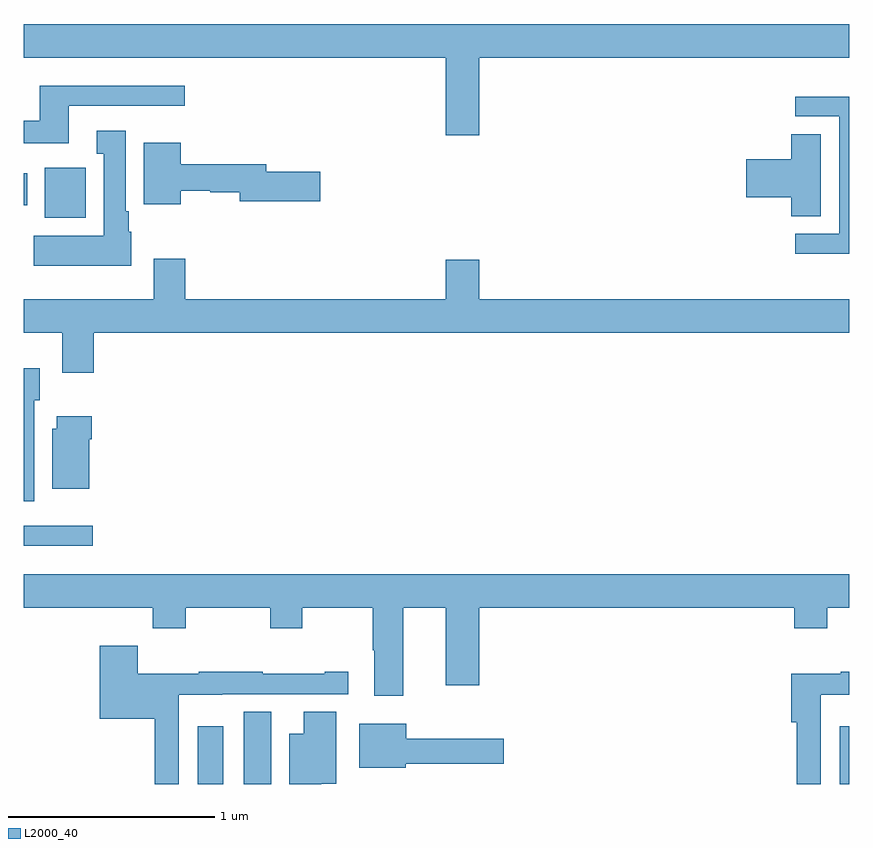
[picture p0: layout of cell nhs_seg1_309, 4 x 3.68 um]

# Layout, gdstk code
import gdstk
lib = gdstk.Library(unit=1e-6, precision=1e-09)
def R(c, l, rs):  # rectangles x0, y0, x1, y1
    for r in rs: c.add(gdstk.rectangle(r[:2], r[2:], *l))
def P(c, l, *ps):  # polygons
    for p in ps: c.add(gdstk.Polygon(p, *l))
L2000_40 = (2000, 40)

nhs_seg1_309 = lib.new_cell('nhs_seg1_309')
R(nhs_seg1_309, L2000_40, [(127.844,564.199,127.966,564.478), (128.066,564.199,128.2,564.548), (130.952,564.199,131,564.478), (127,565.352,127.336,565.449), (127.103,566.942,127.3,567.184), (127,567.001,127.018,567.157)])
P(nhs_seg1_309, L2000_40, [(129.208,567.716),(131,567.716),(131,567.88),(127,567.88),(127,567.716),(129.044,567.716),(129.044,567.342),(129.208,567.342)],
  [(127.219,567.483),(127.78,567.483),(127.78,567.58),(127.079,567.58),(127.079,567.412),(127,567.412),(127,567.302),(127.219,567.302)],
  [(131,567.528),(130.737,567.528),(130.737,567.432),(130.95,567.432),(130.95,566.865),(130.737,566.865),(130.737,566.767),(131,566.767)],
  [(127.522,566.874),(127.51,566.874),(127.51,566.974),(127.495,566.974),(127.495,567.364),(127.355,567.364),(127.355,567.251),(127.388,567.251),(127.388,566.854),(127.049,566.854),(127.049,566.708),(127.522,566.708)],
  [(130.861,567.347),(130.718,567.347),(130.718,567.224),(130.5,567.224),(130.5,567.041),(130.718,567.041),(130.718,566.95),(130.861,566.95)],
  [(127.762,567.072),(127.905,567.072),(127.905,567.064),(128.048,567.064),(128.048,567.022),(128.437,567.022),(128.437,567.164),(128.176,567.164),(128.176,567.2),(127.762,567.2),(127.762,567.304),(127.583,567.304),(127.583,567.008),(127.762,567.008)],
  [(127.34,566.384),(131,566.384),(131,566.548),(129.208,566.548),(129.208,566.737),(129.044,566.737),(129.044,566.548),(127.784,566.548),(127.784,566.743),(127.631,566.743),(127.631,566.548),(127,566.548),(127,566.384),(127.187,566.384),(127.187,566.19),(127.34,566.19)],
  [(127.051,566.058),(127.078,566.058),(127.078,566.212),(127,566.212),(127,565.569),(127.051,565.569)],
  [(127.318,565.868),(127.331,565.868),(127.331,565.981),(127.16,565.981),(127.16,565.92),(127.139,565.92),(127.139,565.628),(127.318,565.628)],
  [(128.839,565.052),(129.044,565.052),(129.044,564.678),(129.208,564.678),(129.208,565.052),(130.733,565.052),(130.733,564.953),(130.893,564.953),(130.893,565.052),(131,565.052),(131,565.216),(127,565.216),(127,565.052),(127.625,565.052),(127.625,564.953),(127.785,564.953),(127.785,565.052),(128.194,565.052),(128.194,564.953),(128.349,564.953),(128.349,565.052),(128.692,565.052),(128.692,564.848),(128.699,564.848),(128.699,564.627),(128.839,564.627)],
  [(127.752,564.632),(127.962,564.632),(127.962,564.633),(128.572,564.633),(128.572,564.742),(128.459,564.742),(128.459,564.732),(128.159,564.732),(128.159,564.742),(127.849,564.742),(127.849,564.732),(127.553,564.732),(127.553,564.868),(127.37,564.868),(127.37,564.515),(127.636,564.515),(127.636,564.199),(127.752,564.199)],
  [(130.86,564.632),(131,564.632),(131,564.742),(130.957,564.742),(130.957,564.732),(130.718,564.732),(130.718,564.497),(130.744,564.497),(130.744,564.199),(130.86,564.199)],
  [(128.443,564.2),(128.515,564.2),(128.515,564.548),(128.357,564.548),(128.357,564.442),(128.288,564.442),(128.288,564.199),(128.443,564.199)],
  [(128.85,564.296),(129.325,564.296),(129.325,564.418),(128.854,564.418),(128.854,564.49),(128.627,564.49),(128.627,564.278),(128.85,564.278)])

lib.write_gds('nhs_seg1_309.gds')
